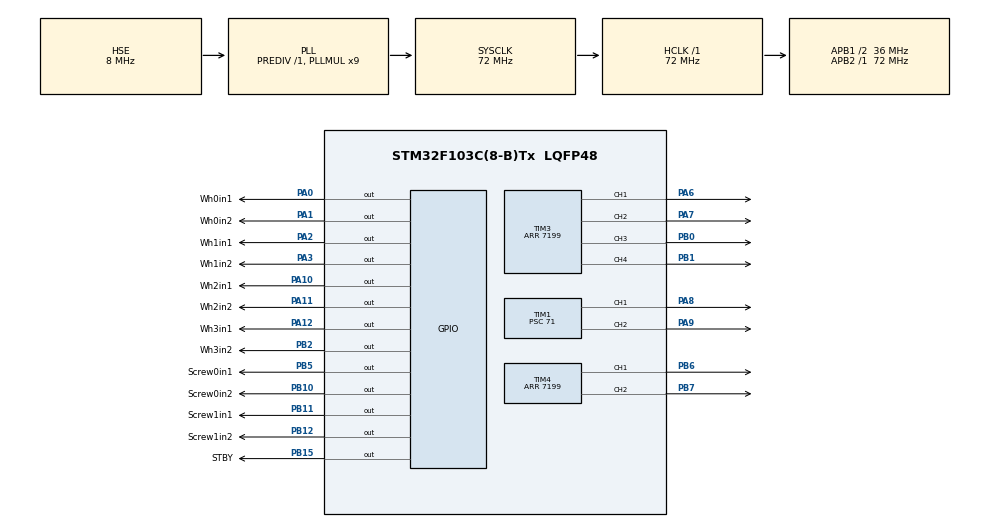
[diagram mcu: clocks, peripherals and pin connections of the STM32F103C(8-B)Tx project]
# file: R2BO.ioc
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Mcu.Family=STM32F1
Mcu.Name=STM32F103C(8-B)Tx
Mcu.Package=LQFP48
NVIC.PriorityGroup=NVIC_PRIORITYGROUP_4
NVIC.TIM2_IRQn=true\:0\:0\:false\:false\:true\:true\:true\:true
PA0-WKUP.GPIO_Label=Wh0in1
PA0-WKUP.GPIO_PuPd=GPIO_NOPULL
PA0-WKUP.GPIO_Speed=GPIO_SPEED_FREQ_LOW
PA0-WKUP.Signal=GPIO_Output
PA1.GPIO_Label=Wh0in2
PA1.GPIO_Speed=GPIO_SPEED_FREQ_LOW
PA1.PinState=GPIO_PIN_RESET
PA1.Signal=GPIO_Output
PA10.GPIO_Label=Wh2in1
PA10.Signal=GPIO_Output
PA11.GPIO_Label=Wh2in2
PA11.GPIO_Speed=GPIO_SPEED_FREQ_LOW
PA11.Signal=GPIO_Output
PA12.GPIO_Label=Wh3in1
PA12.Signal=GPIO_Output
PA13.Mode=Serial_Wire
PA13.Signal=SYS_JTMS-SWDIO
PA14.Mode=Serial_Wire
PA14.Signal=SYS_JTCK-SWCLK
PA2.GPIO_Label=Wh1in1
PA2.GPIO_Speed=GPIO_SPEED_FREQ_LOW
PA2.Signal=GPIO_Output
PA3.GPIO_Label=Wh1in2
PA3.GPIO_Speed=GPIO_SPEED_FREQ_LOW
PA3.Signal=GPIO_Output
PA6.Signal=S_TIM3_CH1
PA7.Signal=S_TIM3_CH2
PA8.Signal=S_TIM1_CH1
PA9.Signal=S_TIM1_CH2
PB0.Signal=S_TIM3_CH3
PB1.Signal=S_TIM3_CH4
PB10.GPIO_Label=Screw0in2
PB10.Signal=GPIO_Output
PB11.GPIO_Label=Screw1in1
PB11.Signal=GPIO_Output
PB12.GPIO_Label=Screw1in2
PB12.Signal=GPIO_Output
PB15.GPIO_Label=STBY
PB15.Signal=GPIO_Output
PB2.GPIO_Label=Wh3in2
PB2.Signal=GPIO_Output
PB5.GPIO_Label=Screw0in1
PB5.Signal=GPIO_Output
PB6.Signal=S_TIM4_CH1
PB7.Signal=S_TIM4_CH2
PD0-OSC_IN.Mode=HSE-External-Oscillator
PD0-OSC_IN.Signal=RCC_OSC_IN
PD1-OSC_OUT.Mode=HSE-External-Oscillator
PD1-OSC_OUT.Signal=RCC_OSC_OUT
ProjectManager.HeapSize=0x200
ProjectManager.StackSize=0x400
ProjectManager.TargetToolchain=MDK-ARM V5.32
RCC.AHBFreq_Value=72000000
RCC.APB1CLKDivider=RCC_HCLK_DIV2
RCC.APB1Freq_Value=36000000
RCC.APB1TimFreq_Value=72000000
RCC.APB2Freq_Value=72000000
RCC.APB2TimFreq_Value=72000000
RCC.HCLKFreq_Value=72000000
RCC.PLLMUL=RCC_PLL_MUL9
RCC.PLLSourceVirtual=RCC_PLLSOURCE_HSE
RCC.SYSCLKFreq_VALUE=72000000
RCC.SYSCLKSource=RCC_SYSCLKSOURCE_PLLCLK
RCC.USBFreq_Value=72000000
SH.S_TIM1_CH1.0=TIM1_CH1,PWM Generation1 CH1
SH.S_TIM1_CH2.0=TIM1_CH2,PWM Generation2 CH2
SH.S_TIM3_CH1.0=TIM3_CH1,PWM Generation1 CH1
SH.S_TIM3_CH2.0=TIM3_CH2,PWM Generation2 CH2
SH.S_TIM3_CH3.0=TIM3_CH3,PWM Generation3 CH3
SH.S_TIM3_CH4.0=TIM3_CH4,PWM Generation4 CH4
SH.S_TIM4_CH1.0=TIM4_CH1,PWM Generation1 CH1
SH.S_TIM4_CH2.0=TIM4_CH2,PWM Generation2 CH2
TIM1.Channel-PWM\ Generation1\ CH1=TIM_CHANNEL_1
TIM1.Channel-PWM\ Generation2\ CH2=TIM_CHANNEL_2
TIM1.Period=19999
TIM1.Prescaler=71
TIM1.Pulse-PWM\ Generation1\ CH1=500
TIM1.Pulse-PWM\ Generation2\ CH2=500
TIM2.Period=19999
TIM2.Prescaler=71
TIM3.Channel-PWM\ Generation1\ CH1=TIM_CHANNEL_1
TIM3.Channel-PWM\ Generation2\ CH2=TIM_CHANNEL_2
TIM3.Channel-PWM\ Generation3\ CH3=TIM_CHANNEL_3
TIM3.Channel-PWM\ Generation4\ CH4=TIM_CHANNEL_4
TIM3.Period=7199
TIM4.Channel-PWM\ Generation1\ CH1=TIM_CHANNEL_1
TIM4.Channel-PWM\ Generation2\ CH2=TIM_CHANNEL_2
TIM4.Period=7199
VP_TIM1_VS_ClockSourceINT.Mode=Internal
VP_TIM2_VS_ClockSourceINT.Mode=Internal
board=custom

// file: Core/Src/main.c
/* USER CODE BEGIN Header */
/**
  ******************************************************************************
  * @file           : main.c
  * @brief          : Main program body
  ******************************************************************************
  * @attention
  *
  * Copyright (c) 2026 STMicroelectronics.
  * All rights reserved.
  *
  * This software is licensed under terms that can be found in the LICENSE file
  * in the root directory of this software component.
  * If no LICENSE file comes with this software, it is provided AS-IS.
  *
  ******************************************************************************
  */
/* USER CODE END Header */
#include "main.h"

/* USER CODE BEGIN Includes */
#include "PS2.h"
#include "OLED.h"
#include "calculator.h"
#include "conductor.h"
/* USER CODE END Includes */

/* USER CODE BEGIN PD */
volatile uint8_t clap=0;
/* USER CODE END PD */

TIM_HandleTypeDef htim1;
TIM_HandleTypeDef htim2;
TIM_HandleTypeDef htim3;
TIM_HandleTypeDef htim4;

void SystemClock_Config(void);
static void MX_GPIO_Init(void);
static void MX_TIM1_Init(void);
static void MX_TIM2_Init(void);
static void MX_TIM3_Init(void);
static void MX_TIM4_Init(void);

int main(void)
{

  /* MCU Configuration--------------------------------------------------------*/

  /* Reset of all peripherals, Initializes the Flash interface and the Systick. */
  HAL_Init();

  /* Configure the system clock */
  SystemClock_Config();

  /* Initialize all configured peripherals */
  MX_GPIO_Init();
  MX_TIM1_Init();
  MX_TIM2_Init();
  MX_TIM3_Init();
  MX_TIM4_Init();
  /* USER CODE BEGIN 2 */
  PS2_Init();
  OLED_Init();
  PowerInit();
  HAL_TIM_Base_Start_IT(&htim2);
  /* USER CODE END 2 */

  /* Infinite loop */
  while (1)
  {
    /* USER CODE BEGIN 3 */
    if(clap==1)
    {
      clap=0;
      PS2_Update();
      calculate();
      push();
      stateshowcase();
    }
  }
  /* USER CODE END 3 */
}

void SystemClock_Config(void)
{
  RCC_OscInitTypeDef RCC_OscInitStruct = {0};
  RCC_ClkInitTypeDef RCC_ClkInitStruct = {0};

  /** Initializes the RCC Oscillators according to the specified parameters
  * in the RCC_OscInitTypeDef structure.
  */
  RCC_OscInitStruct.OscillatorType = RCC_OSCILLATORTYPE_HSE;
  RCC_OscInitStruct.HSEState = RCC_HSE_ON;
  RCC_OscInitStruct.HSEPredivValue = RCC_HSE_PREDIV_DIV1;
  RCC_OscInitStruct.HSIState = RCC_HSI_ON;
  RCC_OscInitStruct.PLL.PLLState = RCC_PLL_ON;
  RCC_OscInitStruct.PLL.PLLSource = RCC_PLLSOURCE_HSE;
  RCC_OscInitStruct.PLL.PLLMUL = RCC_PLL_MUL9;
  if (HAL_RCC_OscConfig(&RCC_OscInitStruct) != HAL_OK)
  {
    Error_Handler();
  }

  /** Initializes the CPU, AHB and APB buses clocks
  */
  RCC_ClkInitStruct.ClockType = RCC_CLOCKTYPE_HCLK|RCC_CLOCKTYPE_SYSCLK
                              |RCC_CLOCKTYPE_PCLK1|RCC_CLOCKTYPE_PCLK2;
  RCC_ClkInitStruct.SYSCLKSource = RCC_SYSCLKSOURCE_PLLCLK;
  RCC_ClkInitStruct.AHBCLKDivider = RCC_SYSCLK_DIV1;
  RCC_ClkInitStruct.APB1CLKDivider = RCC_HCLK_DIV2;
  RCC_ClkInitStruct.APB2CLKDivider = RCC_HCLK_DIV1;

  if (HAL_RCC_ClockConfig(&RCC_ClkInitStruct, FLASH_LATENCY_2) != HAL_OK)
  {
    Error_Handler();
  }
}

static void MX_TIM1_Init(void)
{

  TIM_ClockConfigTypeDef sClockSourceConfig = {0};
  TIM_MasterConfigTypeDef sMasterConfig = {0};
  TIM_OC_InitTypeDef sConfigOC = {0};
  TIM_BreakDeadTimeConfigTypeDef sBreakDeadTimeConfig = {0};

  htim1.Instance = TIM1;
  htim1.Init.Prescaler = 71;
  htim1.Init.CounterMode = TIM_COUNTERMODE_UP;
  htim1.Init.Period = 19999;
  htim1.Init.ClockDivision = TIM_CLOCKDIVISION_DIV1;
  htim1.Init.RepetitionCounter = 0;
  htim1.Init.AutoReloadPreload = TIM_AUTORELOAD_PRELOAD_DISABLE;
  if (HAL_TIM_Base_Init(&htim1) != HAL_OK)
  {
    Error_Handler();
  }
  sClockSourceConfig.ClockSource = TIM_CLOCKSOURCE_INTERNAL;
  if (HAL_TIM_ConfigClockSource(&htim1, &sClockSourceConfig) != HAL_OK)
  {
    Error_Handler();
  }
  if (HAL_TIM_PWM_Init(&htim1) != HAL_OK)
  {
    Error_Handler();
  }
  sMasterConfig.MasterOutputTrigger = TIM_TRGO_RESET;
  sMasterConfig.MasterSlaveMode = TIM_MASTERSLAVEMODE_DISABLE;
  if (HAL_TIMEx_MasterConfigSynchronization(&htim1, &sMasterConfig) != HAL_OK)
  {
    Error_Handler();
  }
  sConfigOC.OCMode = TIM_OCMODE_PWM1;
  sConfigOC.Pulse = 500;
  sConfigOC.OCPolarity = TIM_OCPOLARITY_HIGH;
  sConfigOC.OCNPolarity = TIM_OCNPOLARITY_HIGH;
  sConfigOC.OCFastMode = TIM_OCFAST_DISABLE;
  sConfigOC.OCIdleState = TIM_OCIDLESTATE_RESET;
  sConfigOC.OCNIdleState = TIM_OCNIDLESTATE_RESET;
  if (HAL_TIM_PWM_ConfigChannel(&htim1, &sConfigOC, TIM_CHANNEL_1) != HAL_OK)
  {
    Error_Handler();
  }
  if (HAL_TIM_PWM_ConfigChannel(&htim1, &sConfigOC, TIM_CHANNEL_2) != HAL_OK)
  {
    Error_Handler();
  }
  sBreakDeadTimeConfig.OffStateRunMode = TIM_OSSR_DISABLE;
  sBreakDeadTimeConfig.OffStateIDLEMode = TIM_OSSI_DISABLE;
  sBreakDeadTimeConfig.LockLevel = TIM_LOCKLEVEL_OFF;
  sBreakDeadTimeConfig.DeadTime = 0;
  sBreakDeadTimeConfig.BreakState = TIM_BREAK_DISABLE;
  sBreakDeadTimeConfig.BreakPolarity = TIM_BREAKPOLARITY_HIGH;
  sBreakDeadTimeConfig.AutomaticOutput = TIM_AUTOMATICOUTPUT_DISABLE;
  if (HAL_TIMEx_ConfigBreakDeadTime(&htim1, &sBreakDeadTimeConfig) != HAL_OK)
  {
    Error_Handler();
  }
  HAL_TIM_MspPostInit(&htim1);

}

static void MX_TIM2_Init(void)
{

  TIM_ClockConfigTypeDef sClockSourceConfig = {0};
  TIM_MasterConfigTypeDef sMasterConfig = {0};

  htim2.Instance = TIM2;
  htim2.Init.Prescaler = 71;
  htim2.Init.CounterMode = TIM_COUNTERMODE_UP;
  htim2.Init.Period = 19999;
  htim2.Init.ClockDivision = TIM_CLOCKDIVISION_DIV1;
  htim2.Init.AutoReloadPreload = TIM_AUTORELOAD_PRELOAD_DISABLE;
  if (HAL_TIM_Base_Init(&htim2) != HAL_OK)
  {
    Error_Handler();
  }
  sClockSourceConfig.ClockSource = TIM_CLOCKSOURCE_INTERNAL;
  if (HAL_TIM_ConfigClockSource(&htim2, &sClockSourceConfig) != HAL_OK)
  {
    Error_Handler();
  }
  sMasterConfig.MasterOutputTrigger = TIM_TRGO_RESET;
  sMasterConfig.MasterSlaveMode = TIM_MASTERSLAVEMODE_DISABLE;
  if (HAL_TIMEx_MasterConfigSynchronization(&htim2, &sMasterConfig) != HAL_OK)
  {
    Error_Handler();
  }

}

static void MX_TIM3_Init(void)
{

  TIM_MasterConfigTypeDef sMasterConfig = {0};
  TIM_OC_InitTypeDef sConfigOC = {0};

  htim3.Instance = TIM3;
  htim3.Init.Prescaler = 0;
  htim3.Init.CounterMode = TIM_COUNTERMODE_UP;
  htim3.Init.Period = 7199;
  htim3.Init.ClockDivision = TIM_CLOCKDIVISION_DIV1;
  htim3.Init.AutoReloadPreload = TIM_AUTORELOAD_PRELOAD_DISABLE;
  if (HAL_TIM_PWM_Init(&htim3) != HAL_OK)
  {
    Error_Handler();
  }
  sMasterConfig.MasterOutputTrigger = TIM_TRGO_RESET;
  sMasterConfig.MasterSlaveMode = TIM_MASTERSLAVEMODE_DISABLE;
  if (HAL_TIMEx_MasterConfigSynchronization(&htim3, &sMasterConfig) != HAL_OK)
  {
    Error_Handler();
  }
  sConfigOC.OCMode = TIM_OCMODE_PWM1;
  sConfigOC.Pulse = 0;
  sConfigOC.OCPolarity = TIM_OCPOLARITY_HIGH;
  sConfigOC.OCFastMode = TIM_OCFAST_DISABLE;
  if (HAL_TIM_PWM_ConfigChannel(&htim3, &sConfigOC, TIM_CHANNEL_1) != HAL_OK)
  {
    Error_Handler();
  }
  if (HAL_TIM_PWM_ConfigChannel(&htim3, &sConfigOC, TIM_CHANNEL_2) != HAL_OK)
  {
    Error_Handler();
  }
  if (HAL_TIM_PWM_ConfigChannel(&htim3, &sConfigOC, TIM_CHANNEL_3) != HAL_OK)
  {
    Error_Handler();
  }
  if (HAL_TIM_PWM_ConfigChannel(&htim3, &sConfigOC, TIM_CHANNEL_4) != HAL_OK)
  {
    Error_Handler();
  }
  HAL_TIM_MspPostInit(&htim3);

}

static void MX_TIM4_Init(void)
{

  TIM_MasterConfigTypeDef sMasterConfig = {0};
  TIM_OC_InitTypeDef sConfigOC = {0};

  htim4.Instance = TIM4;
  htim4.Init.Prescaler = 0;
  htim4.Init.CounterMode = TIM_COUNTERMODE_UP;
  htim4.Init.Period = 7199;
  htim4.Init.ClockDivision = TIM_CLOCKDIVISION_DIV1;
  htim4.Init.AutoReloadPreload = TIM_AUTORELOAD_PRELOAD_DISABLE;
  if (HAL_TIM_PWM_Init(&htim4) != HAL_OK)
  {
    Error_Handler();
  }
  sMasterConfig.MasterOutputTrigger = TIM_TRGO_RESET;
  sMasterConfig.MasterSlaveMode = TIM_MASTERSLAVEMODE_DISABLE;
  if (HAL_TIMEx_MasterConfigSynchronization(&htim4, &sMasterConfig) != HAL_OK)
  {
    Error_Handler();
  }
  sConfigOC.OCMode = TIM_OCMODE_PWM1;
  sConfigOC.Pulse = 0;
  sConfigOC.OCPolarity = TIM_OCPOLARITY_HIGH;
  sConfigOC.OCFastMode = TIM_OCFAST_DISABLE;
  if (HAL_TIM_PWM_ConfigChannel(&htim4, &sConfigOC, TIM_CHANNEL_1) != HAL_OK)
  {
    Error_Handler();
  }
  if (HAL_TIM_PWM_ConfigChannel(&htim4, &sConfigOC, TIM_CHANNEL_2) != HAL_OK)
  {
    Error_Handler();
  }
  HAL_TIM_MspPostInit(&htim4);

}

static void MX_GPIO_Init(void)
{
  GPIO_InitTypeDef GPIO_InitStruct = {0};

  /* GPIO Ports Clock Enable */
  __HAL_RCC_GPIOD_CLK_ENABLE();
  __HAL_RCC_GPIOA_CLK_ENABLE();
  __HAL_RCC_GPIOB_CLK_ENABLE();

  /*Configure GPIO pin Output Level */
  HAL_GPIO_WritePin(GPIOA, Wh0in1_Pin|Wh0in2_Pin|Wh1in1_Pin|Wh1in2_Pin
                          |Wh2in1_Pin|Wh2in2_Pin|Wh3in1_Pin, GPIO_PIN_RESET);

  /*Configure GPIO pin Output Level */
  HAL_GPIO_WritePin(GPIOB, Wh3in2_Pin|Screw0in2_Pin|Screw1in1_Pin|Screw1in2_Pin
                          |STBY_Pin|Screw0in1_Pin, GPIO_PIN_RESET);

  /*Configure GPIO pins : Wh0in1_Pin Wh0in2_Pin Wh1in1_Pin Wh1in2_Pin
                           Wh2in1_Pin Wh2in2_Pin Wh3in1_Pin */
  GPIO_InitStruct.Pin = Wh0in1_Pin|Wh0in2_Pin|Wh1in1_Pin|Wh1in2_Pin
                          |Wh2in1_Pin|Wh2in2_Pin|Wh3in1_Pin;
  GPIO_InitStruct.Mode = GPIO_MODE_OUTPUT_PP;
  GPIO_InitStruct.Pull = GPIO_NOPULL;
  GPIO_InitStruct.Speed = GPIO_SPEED_FREQ_LOW;
  HAL_GPIO_Init(GPIOA, &GPIO_InitStruct);

  /*Configure GPIO pins : Wh3in2_Pin Screw0in2_Pin Screw1in1_Pin Screw1in2_Pin
                           STBY_Pin Screw0in1_Pin */
  GPIO_InitStruct.Pin = Wh3in2_Pin|Screw0in2_Pin|Screw1in1_Pin|Screw1in2_Pin
                          |STBY_Pin|Screw0in1_Pin;
  GPIO_InitStruct.Mode = GPIO_MODE_OUTPUT_PP;
  GPIO_InitStruct.Pull = GPIO_NOPULL;
  GPIO_InitStruct.Speed = GPIO_SPEED_FREQ_LOW;
  HAL_GPIO_Init(GPIOB, &GPIO_InitStruct);

}

/* USER CODE BEGIN 4 */
void HAL_TIM_PeriodElapsedCallback(TIM_HandleTypeDef *htim)
{
	if(htim->Instance==TIM2)
	{
		clap=1;

	}

}
/* USER CODE END 4 */

void Error_Handler(void)
{
  __disable_irq();
  while (1)
  {
  }
}
